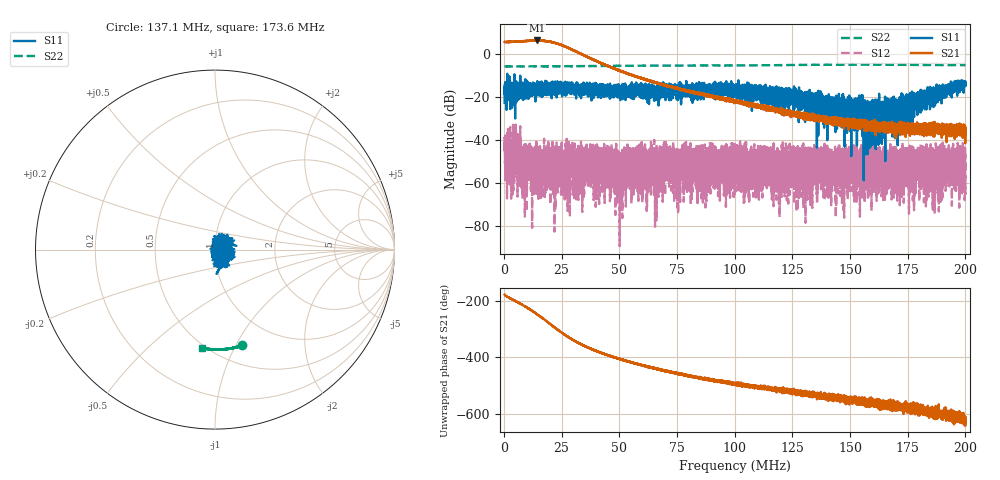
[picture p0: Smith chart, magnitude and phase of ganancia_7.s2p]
# Hz S DB R 50
! CMT, M5065, 19127446, 24.2.4/2
! Date: 11/8/2024 4:22:49 PM
! Data: Format (Calibration Info)
! Freq	S11:dB/Ang(F2)	S21:dB/Ang(F2)	S12:dB/Ang(F2)	S22:dB/Ang(F2)
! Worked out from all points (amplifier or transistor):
!   9000 points, 300 kHz to 200 MHz, reference 50 ohm
!   highest |S21| = 6.2 dB at 14.21 MHz (marker M1)
!   |S21| within 3 dB of that: start of sweep to 26.91 MHz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
!   unconditionally stable (mu >= 1): start of sweep to end of sweep
!   at 33.59 MHz: K = 52.57, MAG = 1.3 dB, |S12| = -43.2 dB
!   at 100.2 MHz: K = 2777.25, MAG = -21.0 dB, |S12| = -55.5 dB
!   at 200 MHz: K = 22964.39, MAG = -34.8 dB, |S12| = -60.2 dB
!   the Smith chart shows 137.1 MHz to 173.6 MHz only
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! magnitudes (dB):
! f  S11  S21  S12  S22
! 300 kHz  -22.7  5.5  -45.1  -5.8
! 2.43 MHz  -20.4  5.5  -42.9  -5.8
! 6.957 MHz  -15.9  5.8  -53.3  -5.9
! 8.999 MHz  -17.7  5.9  -56.9  -5.8
! 14.21 MHz  -17.3  6.2  -48.6  -5.8
! 33.59 MHz  -17.1  -0.1  -43.2  -5.7
! 47.66 MHz  -17.2  -6.9  -49.8  -5.6
! 50.99 MHz  -16.6  -8.1  -66.0  -5.6
! 57.95 MHz  -16.0  -10.7  -49.9  -5.6
! 66.87 MHz  -18.4  -13.8  -57.2  -5.5
! 77.68 MHz  -16.9  -17.1  -55.4  -5.4
! 100.2 MHz  -15.2  -22.6  -55.5  -5.4
! 113.5 MHz  -19.0  -23.9  -52.6  -5.3
! 133.4 MHz  -20.9  -28.6  -55.7  -5.1
! 148.2 MHz  -23.9  -32.2  -42.2  -5.1
! 154.8 MHz  -23.4  -32.8  -65.6  -5.1
! 156.8 MHz  -32.0  -33.0  -52.3  -5.1
! 166.7 MHz  -21.0  -32.7  -62.3  -5.1
! 189 MHz  -15.8  -36.7  -44.3  -5.2
! 196.5 MHz  -16.6  -35.1  -52.1  -5.2
! 198.9 MHz  -12.5  -36.1  -43.6  -5.3
! 200 MHz  -14.7  -36.4  -60.2  -5.3
